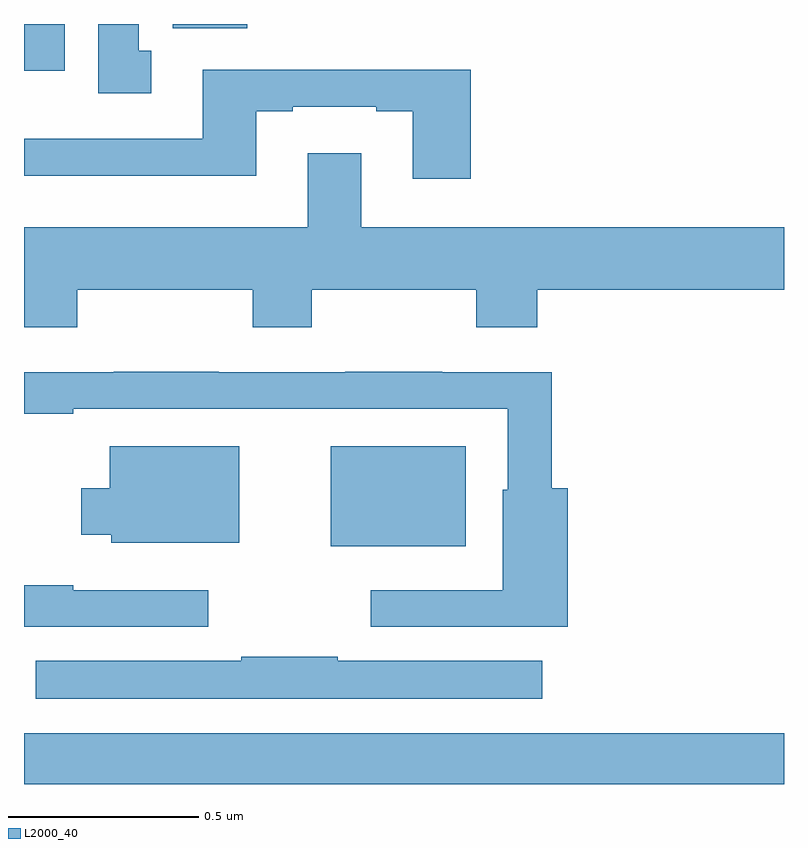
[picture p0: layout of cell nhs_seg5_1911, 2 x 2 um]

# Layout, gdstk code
import gdstk
lib = gdstk.Library(unit=1e-6, precision=1e-09)
def R(c, l, rs):  # rectangles x0, y0, x1, y1
    for r in rs: c.add(gdstk.rectangle(r[:2], r[2:], *l))
def P(c, l, *ps):  # polygons
    for p in ps: c.add(gdstk.Polygon(p, *l))
L2000_40 = (2000, 40)

nhs_seg5_1911 = lib.new_cell('nhs_seg5_1911')
R(nhs_seg5_1911, L2000_40, [(137,848.799,139,848.932), (137.807,849.425,138.163,849.688), (137,850.676,137.107,850.799), (137.391,850.788,137.587,850.799)])
P(nhs_seg5_1911, L2000_40, [(137.335,850.729),(137.302,850.729),(137.302,850.799),(137.195,850.799),(137.195,850.617),(137.335,850.617)],
  [(138.176,850.678),(137.471,850.678),(137.471,850.497),(137,850.497),(137,850.4),(137.611,850.4),(137.611,850.569),(137.707,850.569),(137.707,850.581),(137.927,850.581),(137.927,850.569),(138.023,850.569),(138.023,850.392),(138.176,850.392)],
  [(137.14,850.1),(137.602,850.1),(137.602,850.001),(137.757,850.001),(137.757,850.1),(138.19,850.1),(138.19,850.001),(138.35,850.001),(138.35,850.1),(139,850.1),(139,850.264),(137.887,850.264),(137.887,850.459),(137.747,850.459),(137.747,850.264),(137,850.264),(137,850.001),(137.14,850.001)],
  [(138.431,849.577),(138.389,849.577),(138.389,849.882),(138.101,849.882),(138.101,849.884),(137.845,849.884),(137.845,849.882),(137.513,849.882),(137.513,849.884),(137.236,849.884),(137.236,849.882),(137,849.882),(137,849.774),(137.129,849.774),(137.129,849.786),(138.273,849.786),(138.273,849.573),(138.26,849.573),(138.26,849.309),(137.913,849.309),(137.913,849.213),(138.431,849.213)],
  [(137.566,849.688),(137.225,849.688),(137.225,849.577),(137.15,849.577),(137.15,849.455),(137.229,849.455),(137.229,849.434),(137.566,849.434)],
  [(137.485,849.309),(137.129,849.309),(137.129,849.322),(137,849.322),(137,849.213),(137.485,849.213)],
  [(138.364,849.124),(137.825,849.124),(137.825,849.134),(137.572,849.134),(137.572,849.124),(137.031,849.124),(137.031,849.023),(138.364,849.023)])

lib.write_gds('nhs_seg5_1911.gds')
